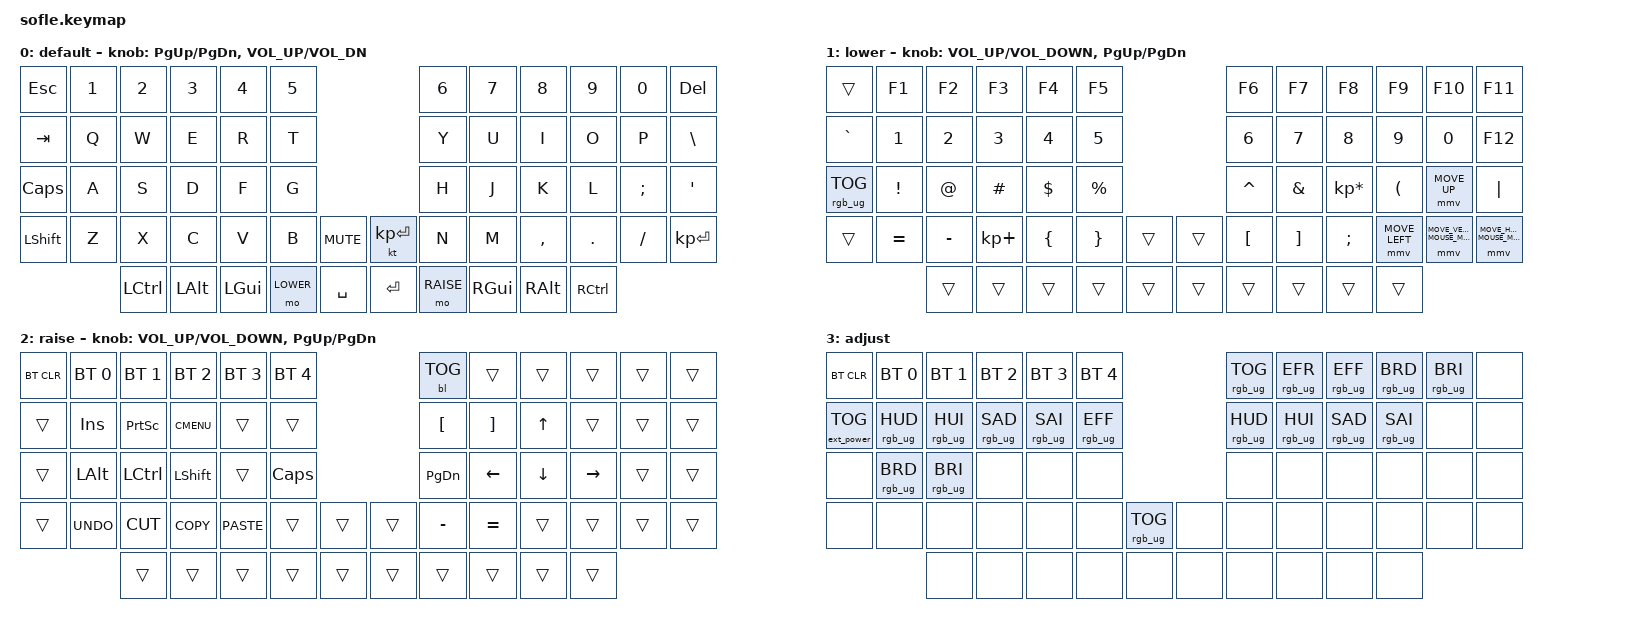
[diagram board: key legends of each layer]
/*
 * Copyright (c) 2020 The ZMK Contributors
 *
 * SPDX-License-Identifier: MIT
 */

#include <behaviors.dtsi>
#include <dt-bindings/zmk/backlight.h>
#include <dt-bindings/zmk/bt.h>
#include <dt-bindings/zmk/ext_power.h>
#include <dt-bindings/zmk/keys.h>
#include <dt-bindings/zmk/keys.h>
#include <dt-bindings/zmk/rgb.h>
#include <dt-bindings/zmk/mouse.h>
#define BASE 0
#define LOWER 1
#define RAISE 2
#define ADJUST 3

#define U_MOUSE_MOVE_MAX 1400                     /* <--- New max speed setting (default: 600) */
#undef MOVE_UP
#undef MOVE_DOWN
#undef MOVE_LEFT
#undef MOVE_RIGHT
#define MOVE_UP MOVE_VERT(-U_MOUSE_MOVE_MAX)
#define MOVE_DOWN MOVE_VERT(U_MOUSE_MOVE_MAX)
#define MOVE_LEFT MOVE_HOR(-U_MOUSE_MOVE_MAX)
#define MOVE_RIGHT MOVE_HOR(U_MOUSE_MOVE_MAX)

&mmv {
	time-to-max-speed-ms = <400>;             /* <--- How long time until max speed is reached (default: 500) */
};
/ {
    // Activate ADJUST layer by pressing raise and lower

    conditional_layers {
        compatible = "zmk,conditional-layers";

        adjust_layer {
            if-layers = <LOWER RAISE>;
            then-layer = <ADJUST>;
        };
    };

    keymap {
        compatible = "zmk,keymap";

        default_layer {
            label = "default";

            // ------------------------------------------------------------------------------------------------------------
            // |   `   |  1  |  2  |  3   |  4   |  5   |                   |  6   |  7    |  8    |  9   |   0   |       |
            // |  ESC  |  Q  |  W  |  E   |  R   |  T   |                   |  Y   |  U    |  I    |  O   |   P   | BKSPC |
            // |  TAB  |  A  |  S  |  D   |  F   |  G   |                   |  H   |  J    |  K    |  L   |   ;   |   '   |
            // | SHIFT |  Z  |  X  |  C   |  V   |  B   |  MUTE  |  |       |  N   |  M    |  ,    |  .   |   /   | SHIFT |
            //               | GUI | ALT  | CTRL | LOWER|  ENTER |  | SPACE | RAISE| CTRL  | ALT   | GUI  |

            bindings = <
&kp ESC    &kp N1  &kp N2     &kp N3    &kp N4    &kp N5                                 &kp N6     &kp N7    &kp N8     &kp N9     &kp N0    &kp DEL
&kp TAB    &kp Q   &kp W      &kp E     &kp R     &kp T                                  &kp Y      &kp U     &kp I      &kp O      &kp P     &kp BACKSLASH
&kp CAPS   &kp A   &kp S      &kp D     &kp F     &kp G                                  &kp H      &kp J     &kp K      &kp L      &kp SEMI  &kp SQT
&kp LSHFT  &kp Z   &kp X      &kp C     &kp V     &kp B      &kp K_MUTE    &kt KP_ENTER  &kp N      &kp M     &kp COMMA  &kp DOT    &kp FSLH  &kp KP_ENTER
                   &kp LCTRL  &kp LALT  &kp LGUI  &mo LOWER  &kp SPACE     &kp RET       &mo RAISE  &kp RGUI  &kp RALT   &kp RCTRL
            >;

            sensor-bindings =
                <&inc_dec_kp PAGE_UP PAGE_DOWN>,
                <&inc_dec_kp C_VOL_UP C_VOL_DN>;
        };

        lower_layer {
            label = "lower";

            // TODO: Some binds are waiting for shifted keycode support.
            // ------------------------------------------------------------------------------------------------------------
            // |       |  F1 |  F2 |  F3  |  F4  |  F5  |                   |  F6  |  F7   |  F8   |  F9  |  F10  |  F11  |
            // |   `   |  1  |  2  |  3   |  4   |  5   |                   |  6   |  7    |  8    |  9   |   0   |  F12  |
            // |       |  !  |  @  |  #   |  $   |  %   |                   |  ^   |  &    |  *    |  (   |   )   |   |   |
            // |       |  =  |  -  |  +   |  {   |  }   |        |  |       |  [   |  ]    |  ;    |  :   |   \   |       |
            //               |     |      |      |      |        |  |       |      |       |       |      |

            bindings = <
&trans           &kp F1     &kp F2     &kp F3       &kp F4    &kp F5                       &kp F6     &kp F7    &kp F8           &kp F9     &kp F10   &kp F11
&kp GRAVE        &kp N1     &kp N2     &kp N3       &kp N4    &kp N5                       &kp N6     &kp N7    &kp N8           &kp N9     &kp N0    &kp F12
&rgb_ug RGB_TOG  &kp EXCL   &kp AT     &kp HASH     &kp DLLR  &kp PRCNT                    &kp CARET  &kp AMPS  &kp KP_MULTIPLY  &kp LPAR   &mmv MOVE_UP  &kp PIPE
&trans           &kp EQUAL  &kp MINUS  &kp KP_PLUS  &kp LBRC  &kp RBRC   &trans    &trans  &kp LBKT   &kp RBKT  &kp SEMI         &mmv MOVE_LEFT  &mmv MOVE_DOWN  &mmv MOVE_RIGHT
                            &trans     &trans       &trans    &trans     &trans    &trans  &trans     &trans    &trans           &trans
            >;

            sensor-bindings =
                <&inc_dec_kp K_VOLUME_UP K_VOLUME_DOWN>,
                <&inc_dec_kp PG_UP PG_DN>;
        };

        raise_layer {
            label = "raise";

            // ------------------------------------------------------------------------------------------------------------
            // | BTCLR | BT1  | BT2  |  BT3  |  BT4  |  BT5 |                |      |      |       |      |       |       |
            // |       | INS  | PSCR | GUI   |       |      |                | PGUP |      |   ^   |      |       |       |
            // |       | ALT  | CTRL | SHIFT |       | CAPS |                | PGDN |   <- |   v   |  ->  |  DEL  | BKSPC |
            // |       | UNDO | CUT  | COPY  | PASTE |      |      |  |      |      |      |       |      |       |       |
            //                |      |       |       |      |      |  |      |      |      |       |      |

            bindings = <
&bt BT_CLR  &bt BT_SEL 0  &bt BT_SEL 1  &bt BT_SEL 2  &bt BT_SEL 3  &bt BT_SEL 4                    &bl BL_TOG  &trans     &trans    &trans     &trans  &trans
&trans      &kp INS       &kp PSCRN     &kp K_CMENU   &trans        &trans                          &kp LBKT    &kp RBKT   &kp UP    &trans     &trans  &trans
&trans      &kp LALT      &kp LCTRL     &kp LSHFT     &trans        &kp CLCK                        &kp PG_DN   &kp LEFT   &kp DOWN  &kp RIGHT  &trans  &trans
&trans      &kp K_UNDO    &kp K_CUT     &kp K_COPY    &kp K_PASTE   &trans        &trans    &trans  &kp MINUS   &kp EQUAL  &trans    &trans     &trans  &trans
                          &trans        &trans        &trans        &trans        &trans    &trans  &trans      &trans     &trans    &trans
            >;

            sensor-bindings =
                <&inc_dec_kp K_VOLUME_UP K_VOLUME_DOWN>,
                <&inc_dec_kp PG_UP PG_DN>;
        };

        adjust_layer {
            // ----------------------------------------------------------------------------------------------------------------------------
            // | BTCLR  |  BT1    |  BT2    |   BT3   |   BT4   |   BT5   |                  |      |      |       |      |       |       |
            // | EXTPWR | RGB_HUD | RGB_HUI | RGB_SAD | RGB_SAI | RGB_EFF |                  |      |      |       |      |       |       |
            // |        | RGB_BRD | RGB_BRI |         |         |         |                  |      |      |       |      |       |       |
            // |        |         |         |         |         |         | RGB_TOG | |      |      |      |       |      |       |       |
            //                    |         |         |         |         |         | |      |      |      |       |      |

            label = "adjust";
            bindings = <
&bt BT_CLR         &bt BT_SEL 0     &bt BT_SEL 1     &bt BT_SEL 2     &bt BT_SEL 3     &bt BT_SEL 4                               &rgb_ug RGB_TOG  &rgb_ug RGB_EFR  &rgb_ug RGB_EFF  &rgb_ug RGB_BRD  &rgb_ug RGB_BRI  &none
&ext_power EP_TOG  &rgb_ug RGB_HUD  &rgb_ug RGB_HUI  &rgb_ug RGB_SAD  &rgb_ug RGB_SAI  &rgb_ug RGB_EFF                            &rgb_ug RGB_HUD  &rgb_ug RGB_HUI  &rgb_ug RGB_SAD  &rgb_ug RGB_SAI  &none            &none
&none              &rgb_ug RGB_BRD  &rgb_ug RGB_BRI  &none            &none            &none                                      &none            &none            &none            &none            &none            &none
&none              &none            &none            &none            &none            &none            &rgb_ug RGB_TOG    &none  &none            &none            &none            &none            &none            &none
                                    &none            &none            &none            &none            &none              &none  &none            &none            &none            &none
            >;
        };
    };
};
